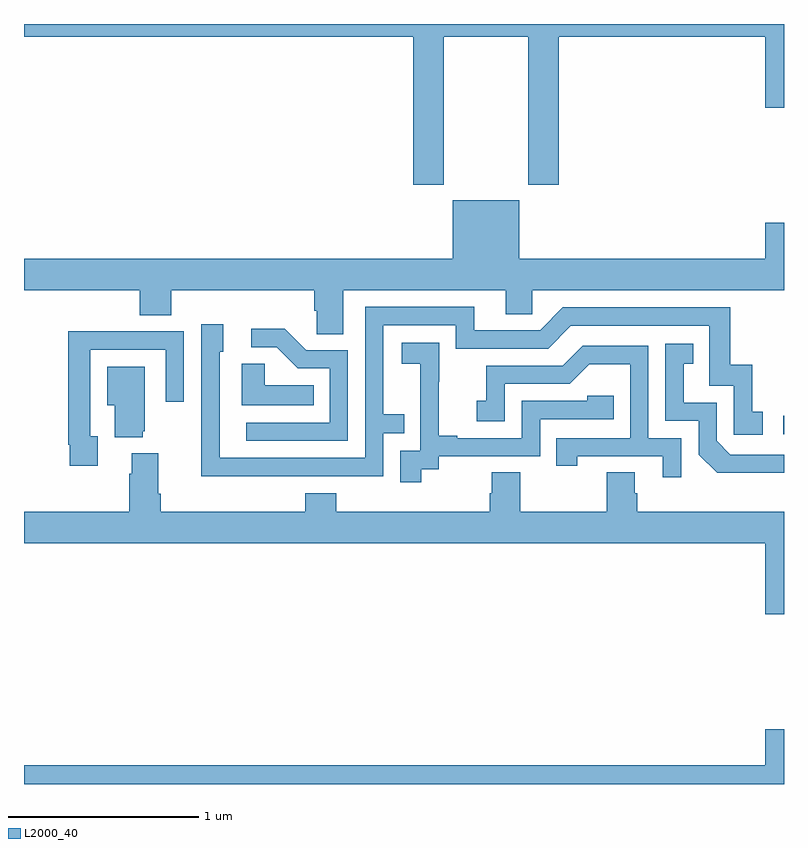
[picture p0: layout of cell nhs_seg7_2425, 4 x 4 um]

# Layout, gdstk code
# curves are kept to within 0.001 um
import gdstk
lib = gdstk.Library(unit=1e-6, precision=1e-09)
def R(c, l, rs):  # rectangles x0, y0, x1, y1
    for r in rs: c.add(gdstk.rectangle(r[:2], r[2:], *l))
def P(c, l, *ps):  # polygons
    for p in ps: c.add(gdstk.Polygon(p, *l))
L2000_40 = (2000, 40)

nhs_seg7_2425 = lib.new_cell('nhs_seg7_2425')
R(nhs_seg7_2425, L2000_40, [(272.997,1015.842,273,1015.938)])
P(nhs_seg7_2425, L2000_40, [(271.209,1017.932),(271.654,1017.932),(271.654,1017.153),(271.814,1017.153),(271.814,1017.932),(272.9,1017.932),(272.9,1017.558),(273,1017.558),(273,1018),(269,1018),(269,1017.932),(271.049,1017.932),(271.049,1017.153),(271.209,1017.153)],
  [(270.679,1016.6),(271.535,1016.6),(271.535,1016.473),(271.674,1016.473),(271.674,1016.6),(273,1016.6),(273,1016.953),(272.9,1016.953),(272.9,1016.764),(271.606,1016.764),(271.606,1017.073),(271.256,1017.073),(271.256,1016.764),(269,1016.764),(269,1016.6),(269.609,1016.6),(269.609,1016.467),(269.774,1016.467),(269.774,1016.6),(270.527,1016.6),(270.527,1016.491),(270.54,1016.491),(270.54,1016.368),(270.679,1016.368)],
  [(270.395,1015.62),(270.891,1015.62),(270.891,1015.845),(271.001,1015.845),(271.001,1015.946),(270.891,1015.946),(270.891,1016.415),(271.272,1016.415),(271.272,1016.292),(271.758,1016.292),(271.878,1016.412),(272.607,1016.412),(272.607,1016.097),(272.736,1016.097),(272.736,1015.839),(272.887,1015.839),(272.887,1015.959),(272.834,1015.959),(272.834,1016.206),(272.716,1016.206),(272.716,1016.508),(271.836,1016.508),(271.716,1016.388),(271.369,1016.388),(271.369,1016.511),(270.795,1016.511),(270.795,1015.716),(270.03,1015.716),(270.03,1016.274),(270.049,1016.274),(270.049,1016.419),(269.934,1016.419),(269.934,1015.925),(269.932,1015.925),(269.932,1015.619)],
  [(270.705,1016.283),(270.486,1016.283),(270.373,1016.396),(270.195,1016.396),(270.195,1016.298),(270.329,1016.298),(270.44,1016.187),(270.609,1016.187),(270.609,1015.902),(270.171,1015.902),(270.171,1015.806),(270.705,1015.806)],
  [(269.389,1015.83),(269.349,1015.83),(269.349,1016.286),(269.745,1016.286),(269.745,1016.013),(269.841,1016.013),(269.841,1016.382),(269.525,1016.382),(269.525,1016.384),(269.233,1016.384),(269.233,1015.786),(269.241,1015.786),(269.241,1015.674),(269.389,1015.674)],
  [(271.09,1015.657),(271.182,1015.657),(271.182,1015.725),(271.716,1015.725),(271.716,1015.92),(272.105,1015.92),(272.105,1016.043),(271.965,1016.043),(271.965,1016.016),(271.62,1016.016),(271.62,1015.821),(271.279,1015.821),(271.279,1015.834),(271.184,1015.834),(271.184,1016.117),(271.185,1016.117),(271.185,1016.323),(270.987,1016.323),(270.987,1016.213),(271.085,1016.213),(271.085,1015.985),(271.086,1015.985),(271.086,1015.755),(270.981,1015.755),(270.981,1015.587),(271.09,1015.587)],
  [(273,1015.734),(272.718,1015.734),(272.646,1015.806),(272.646,1016.007),(272.473,1016.007),(272.473,1016.211),(272.522,1016.211),(272.522,1016.317),(272.376,1016.317),(272.376,1015.911),(272.55,1015.911),(272.55,1015.734),(272.648,1015.637),(273,1015.637)],
  [(272.46,1015.821),(272.286,1015.821),(272.286,1016.307),(271.94,1016.307),(271.835,1016.202),(271.432,1016.202),(271.432,1016.017),(271.383,1016.017),(271.383,1015.908),(271.53,1015.908),(271.53,1016.106),(271.872,1016.106),(271.976,1016.21),(272.19,1016.21),(272.19,1015.821),(271.801,1015.821),(271.801,1015.674),(271.912,1015.674),(271.912,1015.725),(272.363,1015.725),(272.363,1015.614),(272.46,1015.614)],
  [(270.524,1016.098),(270.267,1016.098),(270.267,1016.213),(270.146,1016.213),(270.146,1015.994),(270.524,1015.994)],
  [(269.624,1015.857),(269.635,1015.857),(269.635,1016.197),(269.438,1016.197),(269.438,1015.994),(269.477,1015.994),(269.477,1015.826),(269.624,1015.826)],
  [(273,1015.432),(272.228,1015.432),(272.228,1015.53),(272.215,1015.53),(272.215,1015.64),(272.068,1015.64),(272.068,1015.432),(271.611,1015.432),(271.611,1015.64),(271.463,1015.64),(271.463,1015.53),(271.451,1015.53),(271.451,1015.432),(270.644,1015.432),(270.644,1015.531),(270.479,1015.531),(270.479,1015.432),(269.72,1015.432),(269.72,1015.528),(269.707,1015.528),(269.707,1015.741),(269.567,1015.741),(269.567,1015.634),(269.555,1015.634),(269.555,1015.432),(269,1015.432),(269,1015.268),(272.9,1015.268),(272.9,1014.894),(273,1014.894)],
  [(273,1014.289),(272.9,1014.289),(272.9,1014.1),(269,1014.1),(269,1014),(273,1014)])

lib.write_gds('nhs_seg7_2425.gds')
